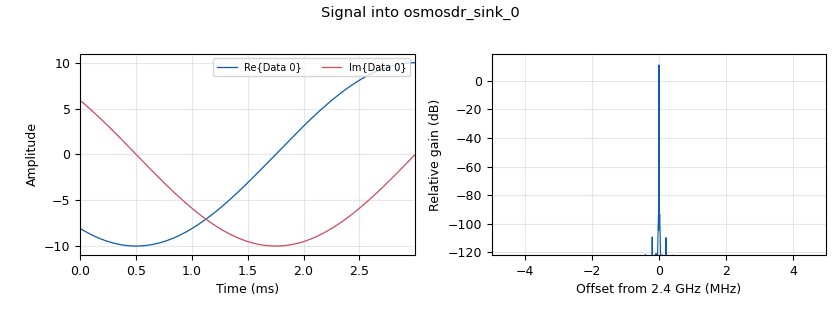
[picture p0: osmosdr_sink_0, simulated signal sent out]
options:
  parameters:
    author: solva
    generate_options: qt_gui
    id: UHH
    output_language: python
    title: Not titled yet
  states: {}

blocks:
- name: cent_freq
  id: variable
  parameters:
    value: 2.4e9
  states: {}
- name: pass_band
  id: variable
  parameters:
    value: 41.75e6
  states: {}
- name: samp_rate
  id: variable
  parameters:
    value: 10e6
  states: {}
- name: analog_sig_source_x_0
  id: analog_sig_source_x
  parameters:
    amp: '10'
    freq: '200'
    offset: '0'
    phase: '0'
    samp_rate: samp_rate
    type: complex
    waveform: analog.GR_COS_WAVE
  states: {}
- name: osmosdr_sink_0
  id: osmosdr_sink
  parameters:
    args: bladerf=0,nchan=1
    bb_gain0: '20'
    freq0: 2.4e9
    gain0: '25'
    if_gain0: '20'
    sample_rate: samp_rate
    sync: sync
    type: fc32
  states: {}
- name: osmosdr_source_0
  id: osmosdr_source
  parameters:
    alias: osmocom_src
    args: bladerf=0,nchan=1
    bb_gain0: '20'
    bw0: pass_band
    freq0: cent_freq
    gain0: '60'
    gain_mode0: 'False'
    if_gain0: '20'
    sample_rate: samp_rate
    sync: sync
    type: fc32
  states: {}
- name: qtgui_freq_sink_x_0
  id: qtgui_freq_sink_x
  parameters:
    autoscale: 'True'
    average: '0.05'
    bw: samp_rate
    fc: '0'
    fftsize: '1024'
    nconnections: '2'
    type: complex
  states: {}

connections:
- [analog_sig_source_x_0, '0', osmosdr_sink_0, '0']
- [analog_sig_source_x_0, '0', qtgui_freq_sink_x_0, '1']
- [osmosdr_source_0, '0', qtgui_freq_sink_x_0, '0']

metadata:
  file_format: 1
  grc_version: 3.10.12.0
